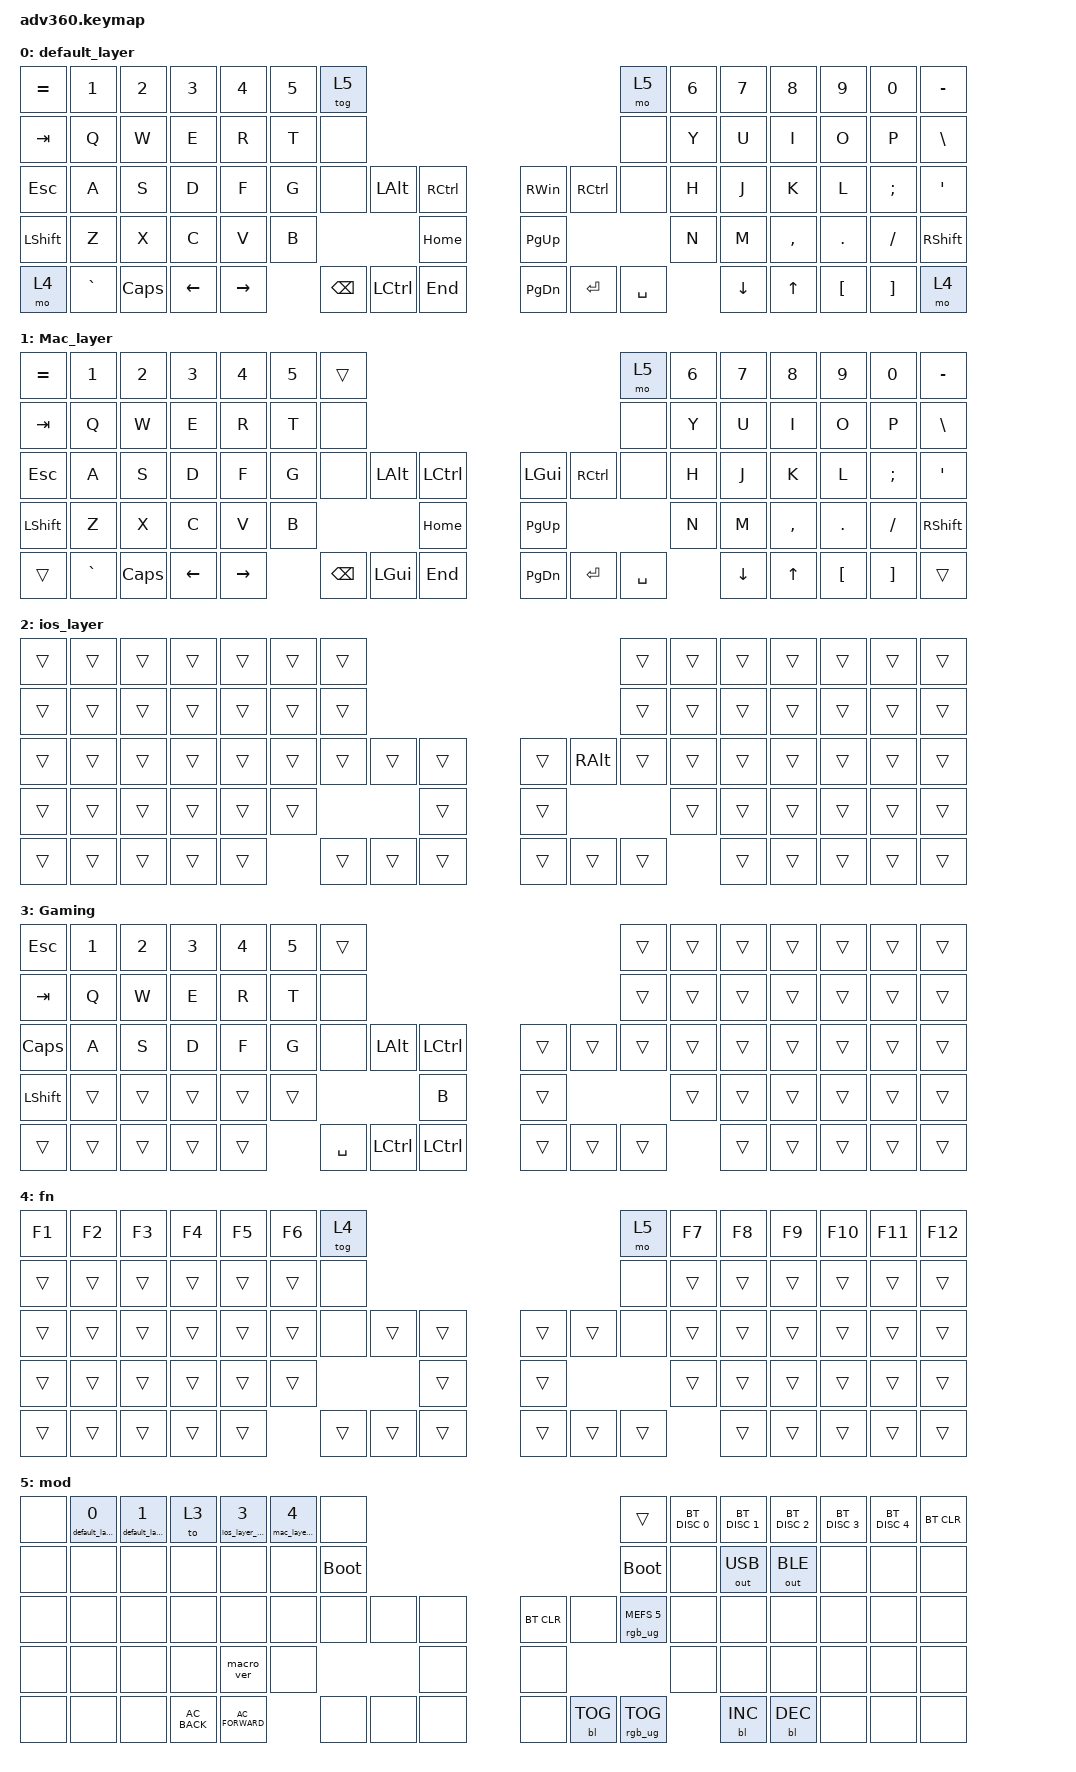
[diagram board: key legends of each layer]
#include <behaviors.dtsi>
#include <dt-bindings/zmk/backlight.h>
#include <dt-bindings/zmk/bt.h>
#include <dt-bindings/zmk/keys.h>
#include <dt-bindings/zmk/outputs.h>
#include <dt-bindings/zmk/rgb.h>

/ {
    behaviors {
        #include "macros.dtsi"
      #include "version.dtsi"
      #ifndef VERSION_MACRO

        macro_ver: macro_ver {
            compatible = "zmk,behavior-macro";
            label = "macro_version";
            #binding-cells = <0>;
            bindings = <&kp RET>;
        };

        #endif

        hm: homerow_mods {
            compatible = "zmk,behavior-hold-tap";
            label = "HOMEROW_MODS";
            #binding-cells = <2>;
            tapping-term-ms = <200>;
            quick_tap_ms = <175>;
            flavor = "tap-preferred";
            bindings = <&kp>, <&kp>;
        };
    };

    macros {
        ios_layer_toggle: ios_layer_toggle {
            compatible = "zmk,behavior-macro-one-param";
            wait-ms = <0>;
            tap-ms = <0>;
            #binding-cells = <1>;
            bindings =
                <&macro_param_1to2>,
                <&macro_tap>,
                <&bt BT_SEL MACRO_PLACEHOLDER>,
                <&macro_tap>,
                <&to 2>;
        };

        default_layer_toggle: default_layer_toggle {
            compatible = "zmk,behavior-macro-one-param";
            wait-ms = <0>;
            tap-ms = <0>;
            #binding-cells = <1>;
            bindings =
                <&macro_param_1to2>,
                <&macro_tap>,
                <&bt BT_SEL MACRO_PLACEHOLDER>,
                <&macro_tap>,
                <&to 0>;
        };

        mac_layer_toggle: mac_layer_toggle {
            compatible = "zmk,behavior-macro-one-param";
            wait-ms = <0>;
            tap-ms = <0>;
            #binding-cells = <1>;
            bindings =
                <&macro_param_1to2>,
                <&macro_tap>,
                <&bt BT_SEL MACRO_PLACEHOLDER>,
                <&macro_tap>,
                <&to 1>;

            label = "MAC_LAYER_TOGGLE";
        };
    };

    combos {
        compatible = "zmk,combos";

        caps_word {
            bindings = <&caps_word>;
            key-positions = <46 59>;
        };
    };

    keymap {
        compatible = "zmk,keymap";

        default_layer {
            bindings = <
&kp EQUAL  &kp N1     &kp N2    &kp N3    &kp N4     &kp N5  &tog 5                                                                       &mo 5      &kp N6  &kp N7          &kp N8        &kp N9    &kp N0    &kp MINUS
&kp TAB    &kp Q      &kp W     &kp E     &kp R      &kp T   &none                                                                        &none      &kp Y   &kp U           &kp I         &kp O     &kp P     &kp BSLH
&kp ESC    &kp A      &kp S     &kp D     &kp F      &kp G   &none     &kp LEFT_ALT      &kp RIGHT_CONTROL      &kp RIGHT_WIN  &kp RCTRL  &none      &kp H   &kp J           &kp K         &kp L     &kp SEMI  &kp SQT
&kp LSHFT  &kp Z      &kp X     &kp C     &kp V      &kp B                               &kp HOME               &kp PG_UP                            &kp N   &kp M           &kp COMMA     &kp DOT   &kp FSLH  &kp RSHFT
&mo 4      &kp GRAVE  &kp CAPS  &kp LEFT  &kp RIGHT          &kp BSPC  &kp LEFT_CONTROL  &kp END                &kp PG_DN      &kp ENTER  &kp SPACE          &kp DOWN_ARROW  &kp UP_ARROW  &kp LBKT  &kp RBKT  &mo 4
            >;
        };

        Mac_layer {
            bindings = <
&kp EQUAL  &kp N1     &kp N2    &kp N3    &kp N4     &kp N5  &trans                                                              &mo 5      &kp N6  &kp N7          &kp N8        &kp N9    &kp N0    &kp MINUS
&kp TAB    &kp Q      &kp W     &kp E     &kp R      &kp T   &none                                                               &none      &kp Y   &kp U           &kp I         &kp O     &kp P     &kp BSLH
&kp ESC    &kp A      &kp S     &kp D     &kp F      &kp G   &none     &kp LEFT_ALT  &kp LEFT_CONTROL      &kp LGUI   &kp RCTRL  &none      &kp H   &kp J           &kp K         &kp L     &kp SEMI  &kp SQT
&kp LSHFT  &kp Z      &kp X     &kp C     &kp V      &kp B                           &kp HOME              &kp PG_UP                        &kp N   &kp M           &kp COMMA     &kp DOT   &kp FSLH  &kp RSHFT
&trans     &kp GRAVE  &kp CAPS  &kp LEFT  &kp RIGHT          &kp BSPC  &kp LEFT_GUI  &kp END               &kp PG_DN  &kp ENTER  &kp SPACE          &kp DOWN_ARROW  &kp UP_ARROW  &kp LBKT  &kp RBKT  &trans
            >;
        };

        ios_layer {
            bindings = <
&trans  &trans  &trans  &trans  &trans  &trans  &trans                                        &trans  &trans  &trans  &trans  &trans  &trans  &trans
&trans  &trans  &trans  &trans  &trans  &trans  &trans                                        &trans  &trans  &trans  &trans  &trans  &trans  &trans
&trans  &trans  &trans  &trans  &trans  &trans  &trans  &trans  &trans      &trans  &kp RALT  &trans  &trans  &trans  &trans  &trans  &trans  &trans
&trans  &trans  &trans  &trans  &trans  &trans                  &trans      &trans                    &trans  &trans  &trans  &trans  &trans  &trans
&trans  &trans  &trans  &trans  &trans          &trans  &trans  &trans      &trans  &trans    &trans          &trans  &trans  &trans  &trans  &trans
            >;
        };

        Gaming {
            bindings = <
&kp ESCAPE      &kp N1  &kp N2  &kp N3  &kp N4  &kp N5  &trans                                                             &trans  &trans  &trans  &trans  &trans  &trans  &trans
&kp TAB         &kp Q   &kp W   &kp E   &kp R   &kp T   &none                                                              &trans  &trans  &trans  &trans  &trans  &trans  &trans
&kp CAPSLOCK    &kp A   &kp S   &kp D   &kp F   &kp G   &none      &kp LEFT_ALT      &kp LEFT_CONTROL      &trans  &trans  &trans  &trans  &trans  &trans  &trans  &trans  &trans
&kp LEFT_SHIFT  &trans  &trans  &trans  &trans  &trans                               &kp B                 &trans                  &trans  &trans  &trans  &trans  &trans  &trans
&trans          &trans  &trans  &trans  &trans          &kp SPACE  &kp LEFT_CONTROL  &kp LEFT_CONTROL      &trans  &trans  &trans          &trans  &trans  &trans  &trans  &trans
            >;
        };

        fn {
            bindings = <
&kp F1  &kp F2  &kp F3  &kp F4  &kp F5  &kp F6  &tog 4                                      &mo 5   &kp F7  &kp F8  &kp F9  &kp F10  &kp F11  &kp F12
&trans  &trans  &trans  &trans  &trans  &trans  &none                                       &none   &trans  &trans  &trans  &trans   &trans   &trans
&trans  &trans  &trans  &trans  &trans  &trans  &none   &trans  &trans      &trans  &trans  &none   &trans  &trans  &trans  &trans   &trans   &trans
&trans  &trans  &trans  &trans  &trans  &trans                  &trans      &trans                  &trans  &trans  &trans  &trans   &trans   &trans
&trans  &trans  &trans  &trans  &trans          &trans  &trans  &trans      &trans  &trans  &trans          &trans  &trans  &trans   &trans   &trans
            >;
        };

        mod {
            bindings = <
&none  &default_layer_toggle 0  &default_layer_toggle 1  &to 3          &ios_layer_toggle 3  &mac_layer_toggle 4  &none                                                  &trans                  &bt BT_DISC 0  &bt BT_DISC 1  &bt BT_DISC 2  &bt BT_DISC 3  &bt BT_DISC 4  &bt BT_CLR
&none  &none                    &none                    &none          &none                &none                &bootloader                                            &bootloader             &none          &out OUT_USB   &out OUT_BLE   &none          &none          &none
&none  &none                    &none                    &none          &none                &none                &none        &none  &none      &bt BT_CLR  &none       &rgb_ug RGB_MEFS_CMD 5  &none          &none          &none          &none          &none          &none
&none  &none                    &none                    &none          &macro_ver           &none                                    &none      &none                                           &none          &none          &none          &none          &none          &none
&none  &none                    &none                    &kp C_AC_BACK  &kp C_AC_FORWARD                          &none        &none  &none      &none       &bl BL_TOG  &rgb_ug RGB_TOG                        &bl BL_INC     &bl BL_DEC     &none          &none          &none
            >;
        };
    };
};
